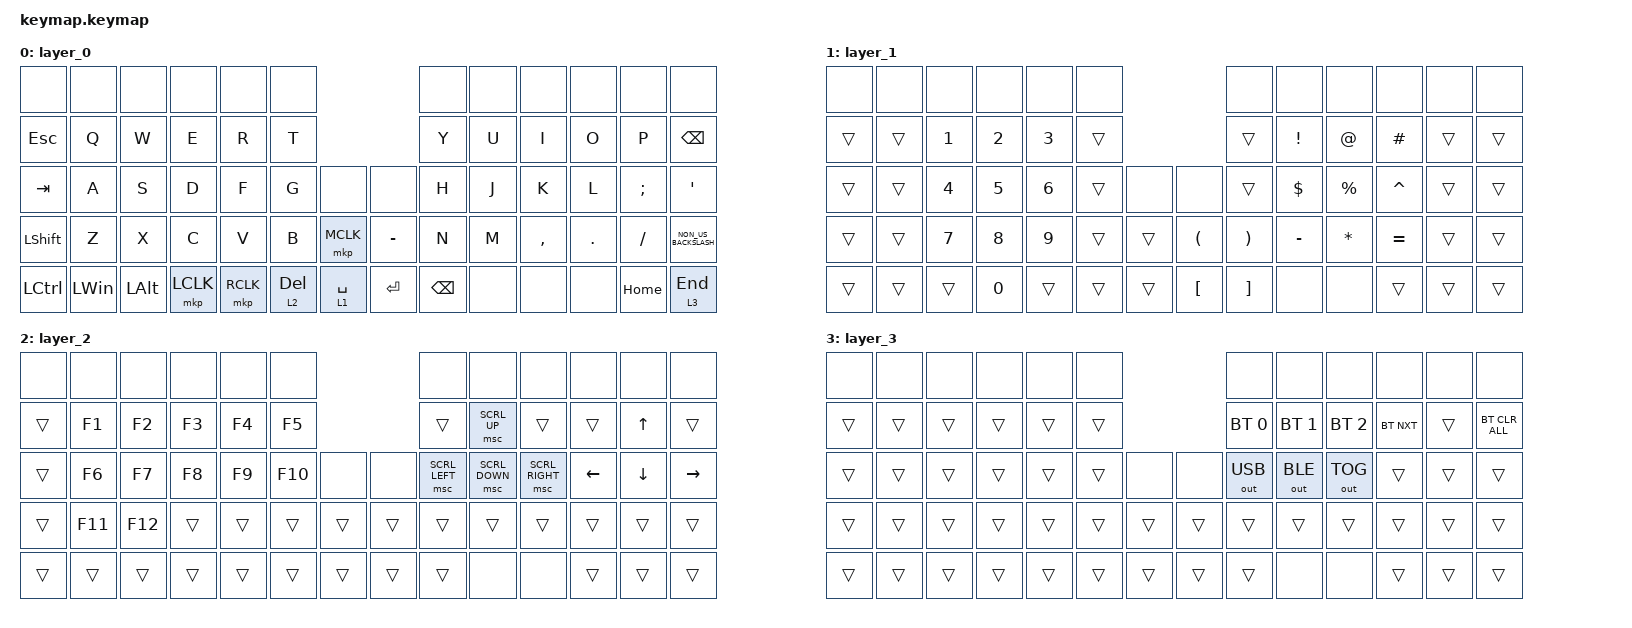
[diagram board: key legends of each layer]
#include <behaviors.dtsi>
#include <dt-bindings/zmk/bt.h>
#include <dt-bindings/zmk/keys.h>
#include <dt-bindings/zmk/outputs.h>
#include <dt-bindings/zmk/pointing.h>

&msc {
    delay-ms = <0>;                // 押し始めてからスクロールが始まるまでの遅延をゼロにする
    time-to-max-speed-ms = <100>;  // 長押しした時に、一瞬（0.1秒）でトップスピードに到達させる
};

/ {
    combos {
        compatible = "zmk,combos";

        bt_clear {
            bindings = <&bt BT_CLR>;
            key-positions = <28 29>;
        };
    };

    keymap {
        compatible = "zmk,keymap";

        layer_0 {
            bindings = <
&none             &none         &none         &none      &none      &none                                 &none          &none  &none      &none    &none      &none
&kp ESC           &kp Q         &kp W         &kp E      &kp R      &kp T                                 &kp Y          &kp U  &kp I      &kp O    &kp P      &kp BACKSPACE
&kp TAB           &kp A         &kp S         &kp D      &kp F      &kp G         &none        &none      &kp H          &kp J  &kp K      &kp L    &kp SEMI   &kp SQT
&kp LSHFT         &kp Z         &kp X         &kp C      &kp V      &kp B         &mkp MCLK    &kp MINUS  &kp N          &kp M  &kp COMMA  &kp DOT  &kp SLASH  &kp NON_US_BACKSLASH
&kp LEFT_CONTROL  &kp LEFT_WIN  &kp LEFT_ALT  &mkp LCLK  &mkp RCLK  &lt 2 DELETE  &lt 1 SPACE  &kp ENTER  &kp BACKSPACE  &none  &none      &none    &kp HOME   &lt 3 END
            >;
        };

        layer_1 {
            bindings = <
&none   &none   &none         &none         &none         &none                             &none              &none            &none         &none      &none   &none
&trans  &trans  &kp NUMBER_1  &kp NUMBER_2  &kp NUMBER_3  &trans                            &trans             &kp EXCLAMATION  &kp AT_SIGN   &kp HASH   &trans  &trans
&trans  &trans  &kp NUMBER_4  &kp NUMBER_5  &kp NUMBER_6  &trans  &none   &none             &trans             &kp DOLLAR       &kp PERCENT   &kp CARET  &trans  &trans
&trans  &trans  &kp NUMBER_7  &kp NUMBER_8  &kp NUMBER_9  &trans  &trans  &kp LPAR          &kp RPAR           &kp MINUS        &kp ASTERISK  &kp EQUAL  &trans  &trans
&trans  &trans  &trans        &kp NUMBER_0  &trans        &trans  &trans  &kp LEFT_BRACKET  &kp RIGHT_BRACKET  &none            &none         &trans     &trans  &trans
            >;
        };

        layer_2 {
            bindings = <
&none   &none    &none    &none   &none   &none                    &none           &none           &none            &none           &none           &none
&trans  &kp F1   &kp F2   &kp F3  &kp F4  &kp F5                   &trans          &msc SCRL_UP    &trans           &trans          &kp UP_ARROW    &trans
&trans  &kp F6   &kp F7   &kp F8  &kp F9  &kp F10  &none   &none   &msc SCRL_LEFT  &msc SCRL_DOWN  &msc SCRL_RIGHT  &kp LEFT_ARROW  &kp DOWN_ARROW  &kp RIGHT_ARROW
&trans  &kp F11  &kp F12  &trans  &trans  &trans   &trans  &trans  &trans          &trans          &trans           &trans          &trans          &trans
&trans  &trans   &trans   &trans  &trans  &trans   &trans  &trans  &trans          &none           &none            &trans          &trans          &trans
            >;
        };

        layer_3 {
            bindings = <
&none   &none   &none   &none   &none   &none                   &none         &none         &none         &none       &none   &none
&trans  &trans  &trans  &trans  &trans  &trans                  &bt BT_SEL 0  &bt BT_SEL 1  &bt BT_SEL 2  &bt BT_NXT  &trans  &bt BT_CLR_ALL
&trans  &trans  &trans  &trans  &trans  &trans  &none   &none   &out OUT_USB  &out OUT_BLE  &out OUT_TOG  &trans      &trans  &trans
&trans  &trans  &trans  &trans  &trans  &trans  &trans  &trans  &trans        &trans        &trans        &trans      &trans  &trans
&trans  &trans  &trans  &trans  &trans  &trans  &trans  &trans  &trans        &none         &none         &trans      &trans  &trans
            >;
        };
    };
};
